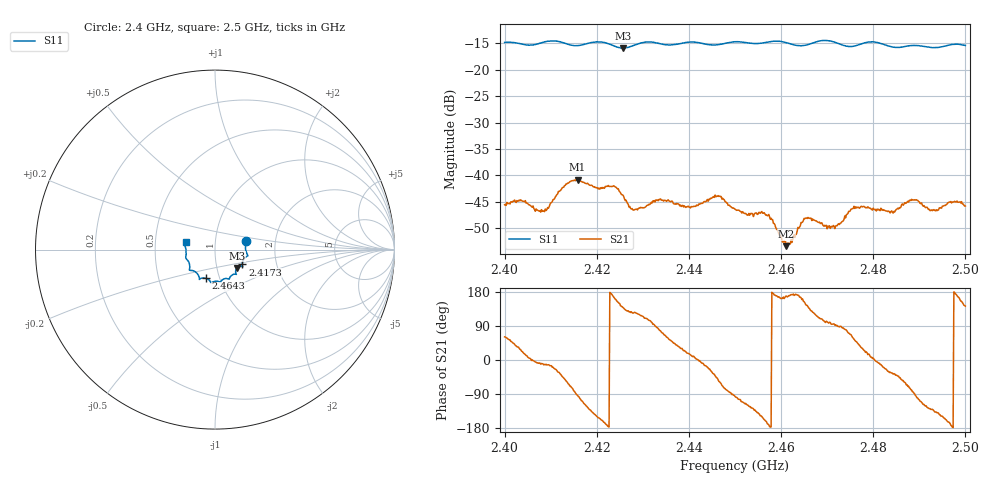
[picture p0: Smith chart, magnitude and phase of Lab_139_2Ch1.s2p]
# Hz S RI R 50
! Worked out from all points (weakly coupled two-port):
!   601 points, 2.4 GHz to 2.5 GHz, reference 50 ohm
!   highest |S21| = -40.82 dB at 2.4158 GHz (marker M1); lowest = -53.4 dB at 2.4612 GHz (marker M2)
!   lowest |S11| = -15.9 dB at 2.4257 GHz (marker M3), VSWR 1.38, Z = 62.4 - j13.1 ohm
!   |S11| at or under -10 dB: start of sweep to end of sweep
!   S12 and S22 are empty: the file has one direction only
!   S11 on the Smith chart (normalised r, x): 2.4 GHz: 1.41, +0.14; 2.4173 GHz: 1.34, -0.23; 2.4643 GHz: 0.86, -0.28; 2.5 GHz: 0.72, +0.06
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2.4e9  0.1736 0.0492  0.00257 0.00462  0 0  0 0
2.408667e9  0.1807 -0.0269  0.00446 -0.000918  0 0  0 0
2.415833e9  0.1553 -0.065  -0.000548 -0.00909  0 0  0 0
2.416667e9  0.1529 -0.0749  -0.00263 -0.00835  0 0  0 0
2.417333e9  0.1522 -0.0826  -0.00373 -0.00766  0 0  0 0
2.423833e9  0.1377 -0.0941  -0.00758 0.00222  0 0  0 0
2.425667e9  0.1223 -0.1023  -0.00491 0.00431  0 0  0 0
2.428333e9  0.115 -0.1266  -0.00278 0.0039  0 0  0 0
2.433333e9  0.1127 -0.1366  0.000737 0.00572  0 0  0 0
2.4405e9  0.0792 -0.1644  0.00498 0.00102  0 0  0 0
2.4465e9  0.0434 -0.1667  0.00351 -0.00528  0 0  0 0
2.45e9  0.0296 -0.1808  -0.000485 -0.0048  0 0  0 0
2.456833e9  -0.0126 -0.1804  -0.00406 -0.00125  0 0  0 0
2.461167e9  -0.0262 -0.1774  -0.00211 0.000422  0 0  0 0
2.464333e9  -0.0501 -0.1603  -0.00347 0.00096  0 0  0 0
2.466667e9  -0.0762 -0.1596  -0.00237 0.00291  0 0  0 0
2.471167e9  -0.0867 -0.1622  -0.000267 0.00325  0 0  0 0
2.476e9  -0.1164 -0.1196  0.00301 0.00384  0 0  0 0
2.483333e9  -0.1406 -0.0897  0.00399 -0.00232  0 0  0 0
2.488833e9  -0.1624 -0.047  0.000226 -0.00584  0 0  0 0
2.4925e9  -0.1605 -0.0197  -0.00304 -0.00355  0 0  0 0
2.5e9  -0.1637 0.0415  -0.00406 0.00315  0 0  0 0
